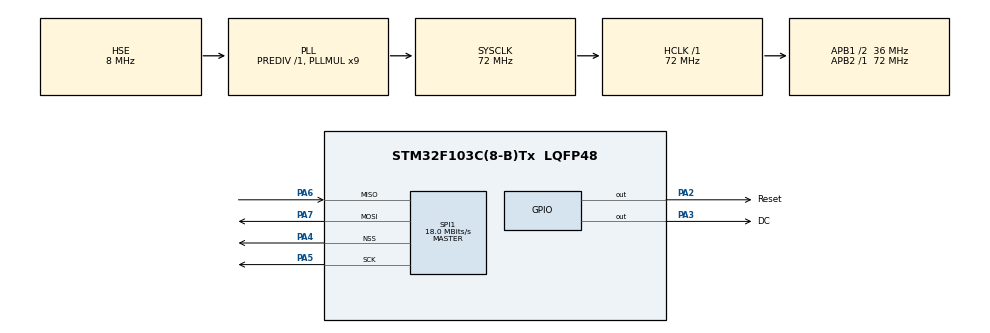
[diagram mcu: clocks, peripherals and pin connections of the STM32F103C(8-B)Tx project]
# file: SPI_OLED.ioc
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Mcu.Family=STM32F1
Mcu.Name=STM32F103C(8-B)Tx
Mcu.Package=LQFP48
NVIC.PriorityGroup=NVIC_PRIORITYGROUP_2
PA13.Mode=Serial_Wire
PA13.Signal=SYS_JTMS-SWDIO
PA14.Mode=Serial_Wire
PA14.Signal=SYS_JTCK-SWCLK
PA2.GPIO_Label=Reset
PA2.Signal=GPIO_Output
PA3.GPIO_Label=DC
PA3.Signal=GPIO_Output
PA4.Mode=NSS_Signal_Hard_Output
PA4.Signal=SPI1_NSS
PA5.Mode=Full_Duplex_Master
PA5.Signal=SPI1_SCK
PA6.Mode=Full_Duplex_Master
PA6.Signal=SPI1_MISO
PA7.Mode=Full_Duplex_Master
PA7.Signal=SPI1_MOSI
PC14-OSC32_IN.Mode=LSE-External-Oscillator
PC14-OSC32_IN.Signal=RCC_OSC32_IN
PC15-OSC32_OUT.Mode=LSE-External-Oscillator
PC15-OSC32_OUT.Signal=RCC_OSC32_OUT
PD0-OSC_IN.Mode=HSE-External-Oscillator
PD0-OSC_IN.Signal=RCC_OSC_IN
PD1-OSC_OUT.Mode=HSE-External-Oscillator
PD1-OSC_OUT.Signal=RCC_OSC_OUT
ProjectManager.HeapSize=0x200
ProjectManager.StackSize=0x400
ProjectManager.TargetToolchain=MDK-ARM V5
RCC.AHBFreq_Value=72000000
RCC.APB1CLKDivider=RCC_HCLK_DIV2
RCC.APB1Freq_Value=36000000
RCC.APB1TimFreq_Value=72000000
RCC.APB2Freq_Value=72000000
RCC.APB2TimFreq_Value=72000000
RCC.HCLKFreq_Value=72000000
RCC.PLLMUL=RCC_PLL_MUL9
RCC.PLLSourceVirtual=RCC_PLLSOURCE_HSE
RCC.SYSCLKFreq_VALUE=72000000
RCC.SYSCLKSource=RCC_SYSCLKSOURCE_PLLCLK
RCC.USBFreq_Value=72000000
SPI1.BaudRatePrescaler=SPI_BAUDRATEPRESCALER_4
SPI1.CalculateBaudRate=18.0 MBits/s
SPI1.Direction=SPI_DIRECTION_2LINES
SPI1.Mode=SPI_MODE_MASTER
SPI1.VirtualNSS=VM_NSSHARD
SPI1.VirtualType=VM_MASTER
board=custom

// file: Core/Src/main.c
/* USER CODE BEGIN Header */
/**
  ******************************************************************************
  * @file           : main.c
  * @brief          : Main program body
  ******************************************************************************
  * @attention
  *
  * <h2><center>&copy; Copyright (c) 2021 STMicroelectronics.
  * All rights reserved.</center></h2>
  *
  * This software component is licensed by ST under BSD 3-Clause license,
  * the "License"; You may not use this file except in compliance with the
  * License. You may obtain a copy of the License at:
  *                        opensource.org/licenses/BSD-3-Clause
  *
  ******************************************************************************
  */
/* USER CODE END Header */
#include "main.h"
#include "spi.h"
#include "gpio.h"

/* USER CODE BEGIN Includes */
#include "oled.h"
//#include "oledfont.h"
#include "bmp.h"
/* USER CODE END Includes */

void SystemClock_Config(void);

int main(void)
{

  /* MCU Configuration--------------------------------------------------------*/

  /* Reset of all peripherals, Initializes the Flash interface and the Systick. */
  HAL_Init();

  /* Configure the system clock */
  SystemClock_Config();

  /* Initialize all configured peripherals */
  MX_GPIO_Init();
  MX_SPI1_Init();
  /* USER CODE BEGIN 2 */
  OLED_Init();
  /* USER CODE END 2 */

  /* Infinite loop */
  /* USER CODE BEGIN WHILE */
  while (1)
  {

    OLED_Clear();
    OLED_ShowCHinese(0, 0, 0);  //嵌
    OLED_ShowCHinese(18, 0, 1); //入
    OLED_ShowCHinese(36, 0, 2); //式
    OLED_ShowCHinese(54, 0, 3); //开
    OLED_ShowCHinese(72, 0, 4); //发
    OLED_ShowCHinese(90, 0, 5); //网
    HAL_Delay(2000);
    OLED_Clear();
    OLED_ShowString(0, 3, (uint8_t *)"mcudev.taobao.com");
    HAL_Delay(2000);
    OLED_Clear();
    OLED_ShowString(0, 6, (uint8_t *)"ASCII:");
    HAL_Delay(2000);
    OLED_Clear();
    OLED_ShowString(63, 6, (uint8_t *)"CODE:");
    HAL_Delay(2000);
    OLED_Clear();
    OLED_ShowChar(48, 6, 'a'); //显示ASCII字符
    HAL_Delay(2000);
    OLED_Clear();
    OLED_DrawBMP(0, 0, 128, 8, BMP1); //图片显示(图片显示慎用，生成的字表较大，会占用较多空间，FLASH空间8K以下慎用)
    HAL_Delay(2000);
    OLED_Clear();
    OLED_ShowNum(0, 0, 78888, 5, 4 * 4);
    HAL_Delay(2000);

    /* USER CODE END WHILE */

  }
}

void SystemClock_Config(void)
{
  RCC_OscInitTypeDef RCC_OscInitStruct = {0};
  RCC_ClkInitTypeDef RCC_ClkInitStruct = {0};

  /** Initializes the RCC Oscillators according to the specified parameters
  * in the RCC_OscInitTypeDef structure.
  */
  RCC_OscInitStruct.OscillatorType = RCC_OSCILLATORTYPE_HSE;
  RCC_OscInitStruct.HSEState = RCC_HSE_ON;
  RCC_OscInitStruct.HSEPredivValue = RCC_HSE_PREDIV_DIV1;
  RCC_OscInitStruct.HSIState = RCC_HSI_ON;
  RCC_OscInitStruct.PLL.PLLState = RCC_PLL_ON;
  RCC_OscInitStruct.PLL.PLLSource = RCC_PLLSOURCE_HSE;
  RCC_OscInitStruct.PLL.PLLMUL = RCC_PLL_MUL9;
  if (HAL_RCC_OscConfig(&RCC_OscInitStruct) != HAL_OK)
  {
    Error_Handler();
  }
  /** Initializes the CPU, AHB and APB buses clocks
  */
  RCC_ClkInitStruct.ClockType = RCC_CLOCKTYPE_HCLK | RCC_CLOCKTYPE_SYSCLK | RCC_CLOCKTYPE_PCLK1 | RCC_CLOCKTYPE_PCLK2;
  RCC_ClkInitStruct.SYSCLKSource = RCC_SYSCLKSOURCE_PLLCLK;
  RCC_ClkInitStruct.AHBCLKDivider = RCC_SYSCLK_DIV1;
  RCC_ClkInitStruct.APB1CLKDivider = RCC_HCLK_DIV2;
  RCC_ClkInitStruct.APB2CLKDivider = RCC_HCLK_DIV1;

  if (HAL_RCC_ClockConfig(&RCC_ClkInitStruct, FLASH_LATENCY_2) != HAL_OK)
  {
    Error_Handler();
  }
}

void Error_Handler(void)
{
  __disable_irq();
  while (1)
  {
  }
}

/************************ (C) COPYRIGHT STMicroelectronics *****END OF FILE****/
